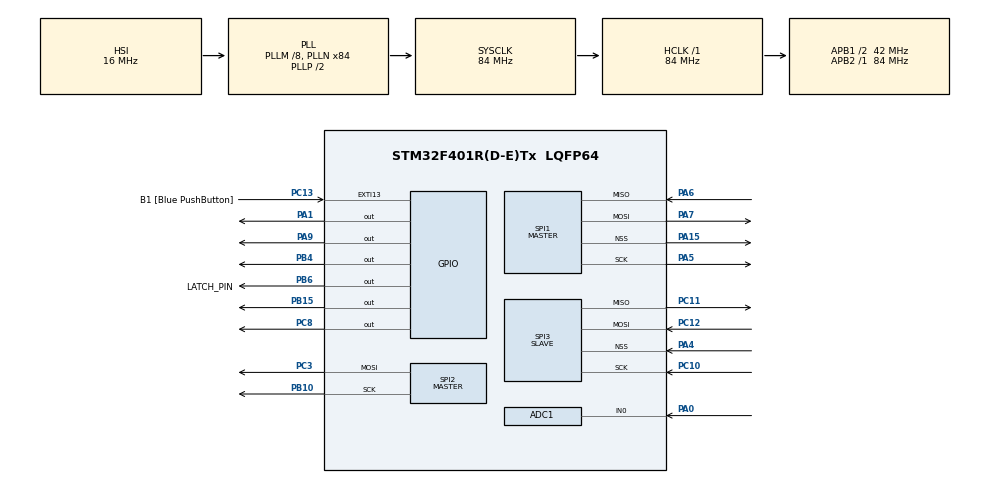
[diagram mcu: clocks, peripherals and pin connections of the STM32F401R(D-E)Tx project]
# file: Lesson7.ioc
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Mcu.Family=STM32F4
PC3.Mode=TX_Only_Simplex_Unidirect_Master
PA6.Mode=Full_Duplex_Master
RCC.CortexFreq_Value=84000000
SPI3.Direction=SPI_DIRECTION_2LINES
SPI3.VirtualType=VM_SLAVE
SPI1.VirtualType=VM_MASTER
SPI2.VirtualType=VM_MASTER
PB10.Mode=TX_Only_Simplex_Unidirect_Master
PC10.Signal=SPI3_SCK
PC12.Signal=SPI3_MOSI
PA14.GPIO_Label=TCK
PB6.GPIO_Label=LATCH_PIN
PB15.Signal=GPIO_Output
RCC.SYSCLKSource=RCC_SYSCLKSOURCE_PLLCLK
ProjectManager.StackSize=0x400
TIM1.Prescaler=839
SPI2.CLKPolarity=SPI_POLARITY_LOW
PH0\ -\ OSC_IN.Signal=RCC_OSC_IN
PA4.Mode=NSS_Signal_Hard_Input
SPI1.Direction=SPI_DIRECTION_2LINES
SPI3.VirtualNSS=VM_NSSHARD
RCC.HCLKFreq_Value=84000000
ADC1.Resolution=ADC_RESOLUTION_10B
RCC.APB2TimFreq_Value=84000000
PB6.Signal=GPIO_Output
PC3.Signal=SPI2_MOSI
RCC.AHBFreq_Value=84000000
NVIC.EXTI15_10_IRQn=true\:0\:0\:false\:false\:true\:true\:true
ADC1.Channel-0\#ChannelRegularConversion=ADC_CHANNEL_0
RCC.HSE_VALUE=8000000
ADC1.ScanConvMode=ENABLE
PC13-ANTI_TAMP.Signal=GPXTI13
PA15.Mode=NSS_Signal_Hard_Output
PC14-OSC32_IN.Mode=LSE-External-Oscillator
PA14.Mode=Serial_Wire
SPI1.VirtualNSS=VM_NSSHARD
SH.ADCx_IN0.0=ADC1_IN0,IN0
VP_TIM1_VS_ClockSourceINT.Mode=Internal
ADC1.SamplingTime-0\#ChannelRegularConversion=ADC_SAMPLETIME_3CYCLES
Mcu.Package=LQFP64
PA6.Signal=SPI1_MISO
SPI2.Mode=SPI_MODE_MASTER
SPI3.Mode=SPI_MODE_SLAVE
PA15.Signal=SPI1_NSS
PC11.Mode=Full_Duplex_Slave
NVIC.SPI3_IRQn=true\:0\:0\:false\:false\:true\:true\:true
RCC.APB1TimFreq_Value=84000000
SPI2.Direction=SPI_DIRECTION_2LINES
PB4.Signal=GPIO_Output
PA5.Mode=Full_Duplex_Master
PB3.GPIO_Label=SWO
PC15-OSC32_OUT.Mode=LSE-External-Oscillator
ADC1.Rank-0\#ChannelRegularConversion=1
PA7.Mode=Full_Duplex_Master
PC13-ANTI_TAMP.GPIO_PuPd=GPIO_NOPULL
PC13-ANTI_TAMP.GPIO_Label=B1 [Blue PushButton]
PC11.Signal=SPI3_MISO
PH1\ -\ OSC_OUT.Mode=HSE-External-Clock-Source
PC8.Signal=GPIO_Output
PC10.Mode=Full_Duplex_Slave
ADC1.DiscontinuousConvMode=DISABLE
RCC.APB1CLKDivider=RCC_HCLK_DIV2
PC14-OSC32_IN.Signal=RCC_OSC32_IN
PA0-WKUP.Signal=ADCx_IN0
PA13.Signal=SYS_JTMS-SWDIO
PH0\ -\ OSC_IN.Mode=HSE-External-Clock-Source
ProjectManager.TargetToolchain=STM32CubeIDE
PA9.Signal=GPIO_Output
PC15-OSC32_OUT.Signal=RCC_OSC32_OUT
PA1.Signal=GPIO_Output
PB10.Signal=SPI2_SCK
PA5.Signal=SPI1_SCK
PC12.Mode=Full_Duplex_Slave
PH1\ -\ OSC_OUT.Signal=RCC_OSC_OUT
board=NUCLEO-F401RE
RCC.VCOOutputFreq_Value=168000000
RCC.APB2Freq_Value=84000000
SPI1.Mode=SPI_MODE_MASTER
PA13.Mode=Serial_Wire
Mcu.Name=STM32F401R(D-E)Tx
PA13.GPIO_Label=TMS
RCC.48MHZClocksFreq_Value=24000000
PB3.Signal=SYS_JTDO-SWO
PA4.Signal=SPI3_NSS
RCC.SYSCLKFreq_VALUE=84000000
ADC1.master=1
SPI2.FirstBit=SPI_FIRSTBIT_LSB
PC13-ANTI_TAMP.GPIO_ModeDefaultEXTI=GPIO_MODE_IT_FALLING
PA14.Signal=SYS_JTCK-SWCLK
ProjectManager.HeapSize=0x200
RCC.HSI_VALUE=16000000
RCC.PLLQ=7
NVIC.PriorityGroup=NVIC_PRIORITYGROUP_0
ADC1.NbrOfConversionFlag=1
RCC.PLLM=8
RCC.PLLN=84
PB6.GPIO_Speed=GPIO_SPEED_FREQ_MEDIUM
RCC.APB1Freq_Value=42000000
PA7.Signal=SPI1_MOSI

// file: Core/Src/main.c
/* USER CODE BEGIN Header */
/**
  ******************************************************************************
  * @file           : main.c
  * @brief          : Main program body
  ******************************************************************************
  * @attention
  *
  * <h2><center>&copy; Copyright (c) 2021 STMicroelectronics.
  * All rights reserved.</center></h2>
  *
  * This software component is licensed by ST under BSD 3-Clause license,
  * the "License"; You may not use this file except in compliance with the
  * License. You may obtain a copy of the License at:
  *                        opensource.org/licenses/BSD-3-Clause
  *
  ******************************************************************************
  */
/* USER CODE END Header */
#include "main.h"

/* USER CODE BEGIN PD */
#define LATCH GPIO_PIN_6

#define dig1_set() HAL_GPIO_WritePin(GPIOB, GPIO_PIN_4,GPIO_PIN_RESET)
#define dig2_set() HAL_GPIO_WritePin(GPIOB, GPIO_PIN_15,GPIO_PIN_RESET)
#define dig3_set() HAL_GPIO_WritePin(GPIOA, GPIO_PIN_1,GPIO_PIN_RESET)
#define dig4_set() HAL_GPIO_WritePin(GPIOA, GPIO_PIN_9,GPIO_PIN_RESET)

#define dig1_reset() HAL_GPIO_WritePin(GPIOB, GPIO_PIN_4,GPIO_PIN_SET)
#define dig2_reset() HAL_GPIO_WritePin(GPIOB, GPIO_PIN_15,GPIO_PIN_SET)
#define dig3_reset() HAL_GPIO_WritePin(GPIOA, GPIO_PIN_1,GPIO_PIN_SET)
#define dig4_reset() HAL_GPIO_WritePin(GPIOA, GPIO_PIN_9,GPIO_PIN_SET)
#define reset_all() dig1_reset();dig2_reset();dig3_reset();dig4_reset()

#define cs_set() HAL_GPIO_WritePin(GPIOB, LATCH,GPIO_PIN_RESET)
#define cs_reset() HAL_GPIO_WritePin(GPIOB, LATCH,GPIO_PIN_SET)
#define cs_strob() cs_reset();cs_set()
/* USER CODE END PD */

ADC_HandleTypeDef hadc1;

SPI_HandleTypeDef hspi1;
SPI_HandleTypeDef hspi2;
SPI_HandleTypeDef hspi3;

TIM_HandleTypeDef htim1;

/* USER CODE BEGIN PV */
const uint8_t digits[11] = {
		0xFC,
		0x60,
		0xDA,
		0xF2,
		0x66,
		0xB6,
		0xBE,
		0xE0,
		0xFE,
		0xF6,
		0x01
 };

volatile uint16_t randNum = 0;
uint8_t digit = 4;
volatile uint16_t valueSPI=0;
uint8_t rxBuffer = 0;
uint16_t value = 0;

/* USER CODE END PV */

void SystemClock_Config(void);
static void MX_GPIO_Init(void);
static void MX_SPI2_Init(void);
static void MX_SPI3_Init(void);
static void MX_SPI1_Init(void);
static void MX_TIM1_Init(void);
static void MX_ADC1_Init(void);

int main(void)
{

  /* MCU Configuration--------------------------------------------------------*/

  /* Reset of all peripherals, Initializes the Flash interface and the Systick. */
  HAL_Init();

  /* Configure the system clock */
  SystemClock_Config();

  /* Initialize all configured peripherals */
  MX_GPIO_Init();
  MX_SPI2_Init();
  MX_SPI3_Init();
  MX_SPI1_Init();
  MX_TIM1_Init();
  MX_ADC1_Init();

  /* Infinite loop */
  /* USER CODE BEGIN WHILE */
  reset_all();

  while (1)
  {
	  HAL_ADC_Start(&hadc1);
	  HAL_ADC_PollForConversion(&hadc1, 10);
	  uint32_t ADCvalue = HAL_ADC_GetValue(&hadc1);
	  HAL_ADC_Stop(&hadc1);
	  if (ADCvalue >= 0x3FF) {
		  value = 0x3FF;
	  } else value = ADCvalue & 0x3FF;

	  if (value <=250) {
		  HAL_GPIO_WritePin(GPIOC, GPIO_PIN_8, GPIO_PIN_SET);
	  } else {
		  HAL_GPIO_WritePin(GPIOC, GPIO_PIN_8, GPIO_PIN_RESET);
	  }
	  digit = 4;
	  uint8_t randH = (uint8_t)((value & 0xFF00)>>8);
	  uint8_t randL = (uint8_t)(value & 0xFF);

	  HAL_SPI_Transmit(&hspi1, &randH, 1, 1000);
	  HAL_SPI_Receive(&hspi3, &rxBuffer, 1,1000);
	  valueSPI = ((uint16_t)rxBuffer)<<8;
	  HAL_SPI_Transmit(&hspi1, &randL, 1, 1000);
	  HAL_SPI_Receive(&hspi3, &rxBuffer,1, 1000);
	  valueSPI |= rxBuffer;
	  //valueSPI /= 5;
	  uint8_t transmitData = 0;
	  uint16_t tempRand = valueSPI;
	  if (tempRand <10) {
		  reset_all();
		  dig4_set();
		  transmitData = ~digits[tempRand];
		  HAL_SPI_Transmit(&hspi2, &transmitData, 1, 1000);
		  cs_strob();
		  HAL_Delay(1);
		  continue;
		  }
	  while(tempRand) {
		  uint8_t r = tempRand % 10;
		  reset_all();
		  switch(digit) {
		  case 4:
			  dig4_set();
			  break;
		  case 3:
			  dig3_set();
			  break;
		  case 2:
			  dig2_set();
			  break;
		  case 1:
			  dig1_set();
			  break;
			  }
		  digit--;
		  tempRand /= 10;
		  transmitData = ~digits[r];
		  HAL_SPI_Transmit(&hspi2, &transmitData, 1, 1000);
		  cs_strob();
		  HAL_Delay(2);
		  }

    /* USER CODE END WHILE */

  }
}

void SystemClock_Config(void)
{
  RCC_OscInitTypeDef RCC_OscInitStruct = {0};
  RCC_ClkInitTypeDef RCC_ClkInitStruct = {0};

  /** Configure the main internal regulator output voltage
  */
  __HAL_RCC_PWR_CLK_ENABLE();
  __HAL_PWR_VOLTAGESCALING_CONFIG(PWR_REGULATOR_VOLTAGE_SCALE2);
  /** Initializes the RCC Oscillators according to the specified parameters
  * in the RCC_OscInitTypeDef structure.
  */
  RCC_OscInitStruct.OscillatorType = RCC_OSCILLATORTYPE_HSI;
  RCC_OscInitStruct.HSIState = RCC_HSI_ON;
  RCC_OscInitStruct.HSICalibrationValue = RCC_HSICALIBRATION_DEFAULT;
  RCC_OscInitStruct.PLL.PLLState = RCC_PLL_ON;
  RCC_OscInitStruct.PLL.PLLSource = RCC_PLLSOURCE_HSI;
  RCC_OscInitStruct.PLL.PLLM = 8;
  RCC_OscInitStruct.PLL.PLLN = 84;
  RCC_OscInitStruct.PLL.PLLP = RCC_PLLP_DIV2;
  RCC_OscInitStruct.PLL.PLLQ = 7;
  if (HAL_RCC_OscConfig(&RCC_OscInitStruct) != HAL_OK)
  {
    Error_Handler();
  }
  /** Initializes the CPU, AHB and APB buses clocks
  */
  RCC_ClkInitStruct.ClockType = RCC_CLOCKTYPE_HCLK|RCC_CLOCKTYPE_SYSCLK
                              |RCC_CLOCKTYPE_PCLK1|RCC_CLOCKTYPE_PCLK2;
  RCC_ClkInitStruct.SYSCLKSource = RCC_SYSCLKSOURCE_PLLCLK;
  RCC_ClkInitStruct.AHBCLKDivider = RCC_SYSCLK_DIV1;
  RCC_ClkInitStruct.APB1CLKDivider = RCC_HCLK_DIV2;
  RCC_ClkInitStruct.APB2CLKDivider = RCC_HCLK_DIV1;

  if (HAL_RCC_ClockConfig(&RCC_ClkInitStruct, FLASH_LATENCY_2) != HAL_OK)
  {
    Error_Handler();
  }
}

static void MX_ADC1_Init(void)
{

  ADC_ChannelConfTypeDef sConfig = {0};

  /** Configure the global features of the ADC (Clock, Resolution, Data Alignment and number of conversion)
  */
  hadc1.Instance = ADC1;
  hadc1.Init.ClockPrescaler = ADC_CLOCK_SYNC_PCLK_DIV4;
  hadc1.Init.Resolution = ADC_RESOLUTION_10B;
  hadc1.Init.ScanConvMode = ENABLE;
  hadc1.Init.ContinuousConvMode = DISABLE;
  hadc1.Init.DiscontinuousConvMode = DISABLE;
  hadc1.Init.ExternalTrigConvEdge = ADC_EXTERNALTRIGCONVEDGE_NONE;
  hadc1.Init.ExternalTrigConv = ADC_SOFTWARE_START;
  hadc1.Init.DataAlign = ADC_DATAALIGN_RIGHT;
  hadc1.Init.NbrOfConversion = 1;
  hadc1.Init.DMAContinuousRequests = DISABLE;
  hadc1.Init.EOCSelection = ADC_EOC_SINGLE_CONV;
  if (HAL_ADC_Init(&hadc1) != HAL_OK)
  {
    Error_Handler();
  }
  /** Configure for the selected ADC regular channel its corresponding rank in the sequencer and its sample time.
  */
  sConfig.Channel = ADC_CHANNEL_0;
  sConfig.Rank = 1;
  sConfig.SamplingTime = ADC_SAMPLETIME_3CYCLES;
  if (HAL_ADC_ConfigChannel(&hadc1, &sConfig) != HAL_OK)
  {
    Error_Handler();
  }

}

static void MX_SPI1_Init(void)
{

  /* SPI1 parameter configuration*/
  hspi1.Instance = SPI1;
  hspi1.Init.Mode = SPI_MODE_MASTER;
  hspi1.Init.Direction = SPI_DIRECTION_2LINES;
  hspi1.Init.DataSize = SPI_DATASIZE_8BIT;
  hspi1.Init.CLKPolarity = SPI_POLARITY_LOW;
  hspi1.Init.CLKPhase = SPI_PHASE_1EDGE;
  hspi1.Init.NSS = SPI_NSS_HARD_OUTPUT;
  hspi1.Init.BaudRatePrescaler = SPI_BAUDRATEPRESCALER_2;
  hspi1.Init.FirstBit = SPI_FIRSTBIT_MSB;
  hspi1.Init.TIMode = SPI_TIMODE_DISABLE;
  hspi1.Init.CRCCalculation = SPI_CRCCALCULATION_DISABLE;
  hspi1.Init.CRCPolynomial = 10;
  if (HAL_SPI_Init(&hspi1) != HAL_OK)
  {
    Error_Handler();
  }

}

static void MX_SPI2_Init(void)
{

  /* SPI2 parameter configuration*/
  hspi2.Instance = SPI2;
  hspi2.Init.Mode = SPI_MODE_MASTER;
  hspi2.Init.Direction = SPI_DIRECTION_2LINES;
  hspi2.Init.DataSize = SPI_DATASIZE_8BIT;
  hspi2.Init.CLKPolarity = SPI_POLARITY_LOW;
  hspi2.Init.CLKPhase = SPI_PHASE_1EDGE;
  hspi2.Init.NSS = SPI_NSS_SOFT;
  hspi2.Init.BaudRatePrescaler = SPI_BAUDRATEPRESCALER_2;
  hspi2.Init.FirstBit = SPI_FIRSTBIT_LSB;
  hspi2.Init.TIMode = SPI_TIMODE_DISABLE;
  hspi2.Init.CRCCalculation = SPI_CRCCALCULATION_DISABLE;
  hspi2.Init.CRCPolynomial = 10;
  if (HAL_SPI_Init(&hspi2) != HAL_OK)
  {
    Error_Handler();
  }

}

static void MX_SPI3_Init(void)
{

  /* SPI3 parameter configuration*/
  hspi3.Instance = SPI3;
  hspi3.Init.Mode = SPI_MODE_SLAVE;
  hspi3.Init.Direction = SPI_DIRECTION_2LINES;
  hspi3.Init.DataSize = SPI_DATASIZE_8BIT;
  hspi3.Init.CLKPolarity = SPI_POLARITY_LOW;
  hspi3.Init.CLKPhase = SPI_PHASE_1EDGE;
  hspi3.Init.NSS = SPI_NSS_HARD_INPUT;
  hspi3.Init.FirstBit = SPI_FIRSTBIT_MSB;
  hspi3.Init.TIMode = SPI_TIMODE_DISABLE;
  hspi3.Init.CRCCalculation = SPI_CRCCALCULATION_DISABLE;
  hspi3.Init.CRCPolynomial = 10;
  if (HAL_SPI_Init(&hspi3) != HAL_OK)
  {
    Error_Handler();
  }

}

static void MX_TIM1_Init(void)
{

  TIM_ClockConfigTypeDef sClockSourceConfig = {0};
  TIM_MasterConfigTypeDef sMasterConfig = {0};

  htim1.Instance = TIM1;
  htim1.Init.Prescaler = 839;
  htim1.Init.CounterMode = TIM_COUNTERMODE_UP;
  htim1.Init.Period = 65535;
  htim1.Init.ClockDivision = TIM_CLOCKDIVISION_DIV1;
  htim1.Init.RepetitionCounter = 0;
  htim1.Init.AutoReloadPreload = TIM_AUTORELOAD_PRELOAD_DISABLE;
  if (HAL_TIM_Base_Init(&htim1) != HAL_OK)
  {
    Error_Handler();
  }
  sClockSourceConfig.ClockSource = TIM_CLOCKSOURCE_INTERNAL;
  if (HAL_TIM_ConfigClockSource(&htim1, &sClockSourceConfig) != HAL_OK)
  {
    Error_Handler();
  }
  sMasterConfig.MasterOutputTrigger = TIM_TRGO_RESET;
  sMasterConfig.MasterSlaveMode = TIM_MASTERSLAVEMODE_DISABLE;
  if (HAL_TIMEx_MasterConfigSynchronization(&htim1, &sMasterConfig) != HAL_OK)
  {
    Error_Handler();
  }

}

static void MX_GPIO_Init(void)
{
  GPIO_InitTypeDef GPIO_InitStruct = {0};

  /* GPIO Ports Clock Enable */
  __HAL_RCC_GPIOC_CLK_ENABLE();
  __HAL_RCC_GPIOH_CLK_ENABLE();
  __HAL_RCC_GPIOA_CLK_ENABLE();
  __HAL_RCC_GPIOB_CLK_ENABLE();

  /*Configure GPIO pin Output Level */
  HAL_GPIO_WritePin(GPIOA, GPIO_PIN_1|GPIO_PIN_9, GPIO_PIN_RESET);

  /*Configure GPIO pin Output Level */
  HAL_GPIO_WritePin(GPIOB, GPIO_PIN_15|GPIO_PIN_4|LATCH_PIN_Pin, GPIO_PIN_RESET);

  /*Configure GPIO pin Output Level */
  HAL_GPIO_WritePin(GPIOC, GPIO_PIN_8, GPIO_PIN_RESET);

  /*Configure GPIO pin : B1_Pin */
  GPIO_InitStruct.Pin = B1_Pin;
  GPIO_InitStruct.Mode = GPIO_MODE_IT_FALLING;
  GPIO_InitStruct.Pull = GPIO_NOPULL;
  HAL_GPIO_Init(B1_GPIO_Port, &GPIO_InitStruct);

  /*Configure GPIO pins : PA1 PA9 */
  GPIO_InitStruct.Pin = GPIO_PIN_1|GPIO_PIN_9;
  GPIO_InitStruct.Mode = GPIO_MODE_OUTPUT_PP;
  GPIO_InitStruct.Pull = GPIO_NOPULL;
  GPIO_InitStruct.Speed = GPIO_SPEED_FREQ_LOW;
  HAL_GPIO_Init(GPIOA, &GPIO_InitStruct);

  /*Configure GPIO pins : PB15 PB4 */
  GPIO_InitStruct.Pin = GPIO_PIN_15|GPIO_PIN_4;
  GPIO_InitStruct.Mode = GPIO_MODE_OUTPUT_PP;
  GPIO_InitStruct.Pull = GPIO_NOPULL;
  GPIO_InitStruct.Speed = GPIO_SPEED_FREQ_LOW;
  HAL_GPIO_Init(GPIOB, &GPIO_InitStruct);

  /*Configure GPIO pin : PC8 */
  GPIO_InitStruct.Pin = GPIO_PIN_8;
  GPIO_InitStruct.Mode = GPIO_MODE_OUTPUT_PP;
  GPIO_InitStruct.Pull = GPIO_NOPULL;
  GPIO_InitStruct.Speed = GPIO_SPEED_FREQ_LOW;
  HAL_GPIO_Init(GPIOC, &GPIO_InitStruct);

  /*Configure GPIO pin : LATCH_PIN_Pin */
  GPIO_InitStruct.Pin = LATCH_PIN_Pin;
  GPIO_InitStruct.Mode = GPIO_MODE_OUTPUT_PP;
  GPIO_InitStruct.Pull = GPIO_NOPULL;
  GPIO_InitStruct.Speed = GPIO_SPEED_FREQ_MEDIUM;
  HAL_GPIO_Init(LATCH_PIN_GPIO_Port, &GPIO_InitStruct);

  /* EXTI interrupt init*/
  HAL_NVIC_SetPriority(EXTI15_10_IRQn, 0, 0);
  HAL_NVIC_EnableIRQ(EXTI15_10_IRQn);

}

void Error_Handler(void)
{
  __disable_irq();
  while (1)
  {
  }
}

/************************ (C) COPYRIGHT STMicroelectronics *****END OF FILE****/
